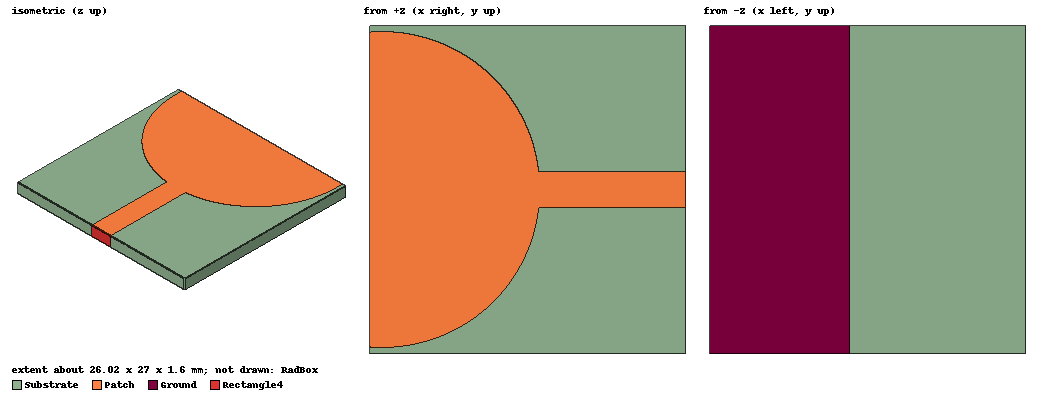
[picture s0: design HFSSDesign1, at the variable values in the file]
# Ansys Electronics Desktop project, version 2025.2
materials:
  vacuum: permittivity=1
  FR4_epoxy: permittivity=4.4 dielectric_loss_tangent=0.02
  air: permittivity=1.0006 permeability=1.0000004

design HFSSDesign1 (HFSS, HFSS Terminal Network, model units mm)
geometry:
  Substrate [FR4_epoxy] = box(corner=(-13mm, -13.5mm, 0mm), size=(26mm, 27mm, 1.6mm))
  Ground = rectangle(corner=(1.5mm, 13.5mm, 0mm), x_size=11.5mm, y_size=-27mm)
  Patch = circle(normal=Z, centre=(-12mm, 0mm, 1.6mm), radius=13mm)
  Rectangle2 = rectangle(corner=(-13mm, 13.5mm, 1.6mm), x_size=-17mm, y_size=-29.5mm)
  Patch.subtract(Rectangle2)
  Rectangle3 = rectangle(corner=(0mm, -1.5mm, 1.6mm), x_size=13mm, y_size=3mm)
  Patch.unite(Rectangle3)
  RadBox [air] = box(corner=(-20mm, -20mm, -20mm), size=(40mm, 40mm, 40mm))
  Rectangle4 = rectangle(corner=(13mm, -1.5mm, 1.6mm), y_size=3mm, z_size=-1.6mm)
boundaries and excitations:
  PerfE1: Perfect E Objects=[Ground, Patch]
  Rad1: Radiation Objects=RadBox
  1: Lumped Port Objects=Rectangle4 LumpedPortType=Modal Modes{Mode1{IntLine{(13, 0, 0) -> (13, 0, 1.6)} CharImp=Zpi}} Impedance=50ohm
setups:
  Setup1: HfssDriven Frequency=5GHz MaxDeltaS=0.02 MaximumPasses=6 MinimumPasses=1 MinimumConvergedPasses=1 PercentRefinement=30 BasisOrder=1 PortAccuracy=2 DrivenSolverType="Direct Solver"
    sweep Sweep: 1GHz to 15GHz, 141 points; Type=Fast SaveFields
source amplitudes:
  1:1: 1V 0deg
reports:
  S Parameter Plot1: dB(S(1,1)) vs Freq on Setup1 : Sweep; markers m1 at 3.5218682GHz, m2 at 13.907263GHz, m3 at 8.5GHz, m4 at 8.6GHz
